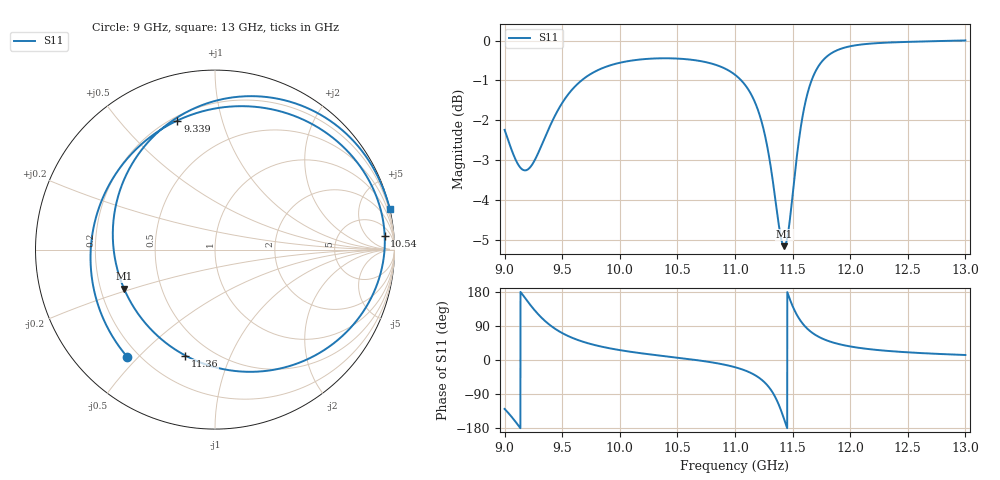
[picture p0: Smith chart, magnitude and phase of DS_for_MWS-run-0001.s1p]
! TOUCHSTONE file generated by CST DESIGN STUDIO
! Date and time: Tue Feb  4 18:15:27 2025
! Project name: C:\Work\MatlabApps\UnitCellOptimizationMatlab\CST\unitcell.cst
! Tree item: Tasks\Sweep1\SPara1\S-Parameters
! Header version: 2024
! Port assignment regex: !\s*Touchstone port\s*([0-9]+)\s*=\s*(CST MWS port|CST DES external port|CST DES block port)\s*(.+)\s* \(\"(.*)\"\)(\s*mode\s*([0-9]+))?.*
! Touchstone port assignment:
! Touchstone port 1 = CST DES external port 1 ("")
# GHz S MA R 50
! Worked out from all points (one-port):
!   4001 points, 9 GHz to 13 GHz, reference 50 ohm
!   lowest |S11| = -5.2 dB at 11.43 GHz (marker M1), VSWR 3.46, Z = 15 - j9.43 ohm
!   |S11| at or under -10 dB: nowhere
!   S11 on the Smith chart (normalised r, x): 9 GHz: 0.16, -0.47; 9.339 GHz: 0.22, +0.73; 10.54 GHz: 12, +18; 11.36 GHz: 0.37, -0.69; 13 GHz: -0.02, +8.64
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9  0.7725 -129.1
9.088  0.7125 -160.3
9.158  0.6882 171.5
9.253  0.704 134.1
9.339  0.7491 106.3
9.412  0.7912 87.9
9.5  0.835 71.1
9.713  0.9014 45.2
10  0.938 26.1
10.5  0.9494 6.1
10.543  0.9486 4.5
10.814  0.9342 -7.0
11  0.906 -19.0
11.118  0.867 -31.4
11.209  0.8104 -46.9
11.3  0.709 -73.9
11.362  0.613 -105.6
11.394  0.5703 -128.6
11.427  0.5517 -156.7
11.463  0.576 171.4
11.5  0.6397 142.3
11.562  0.7628 106.7
11.634  0.8632 80.9
11.703  0.9173 65.2
11.782  0.9507 53.4
12  0.9838 35.8
12.5  0.9964 20.2
13  1 13.2
